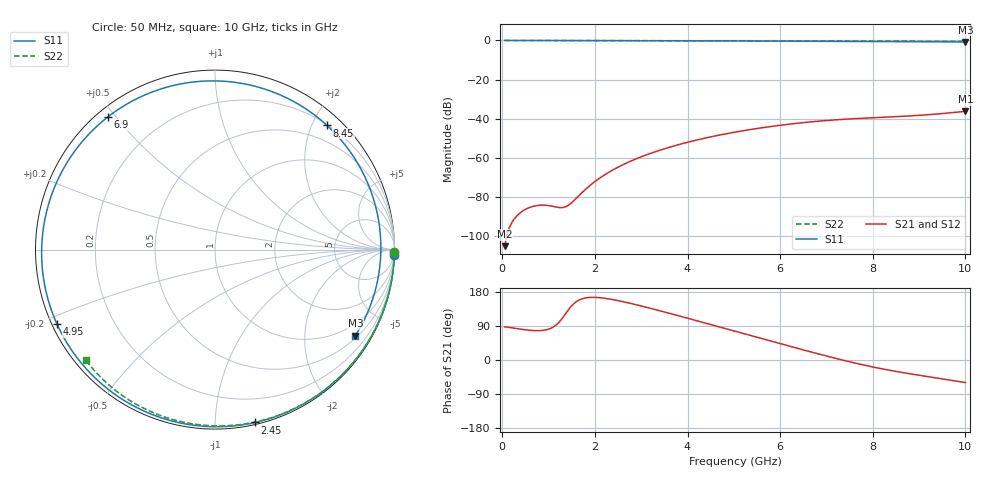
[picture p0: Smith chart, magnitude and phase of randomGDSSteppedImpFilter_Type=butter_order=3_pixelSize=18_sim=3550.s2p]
! freq	dB(S11)	phase(S11)	dB(S12)	phase(S12)
!  dB(S21)	phase(S21)	dB(S22)	phase(S22)
!S-par simulation data
#  GHz  S  DB  R 50
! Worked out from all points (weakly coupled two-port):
!   200 points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, 50 MHz to 10 GHz, reference 50 ohm
!   highest |S21| = -36.23 dB at 10 GHz (marker M1); lowest = -105.1 dB at 50 MHz (marker M2)
!   lowest |S11| = -0.7 dB at 10 GHz (marker M3), VSWR 23.22, Z = 28.7 - j173 ohm
!   |S11| at or under -10 dB: nowhere
!   |S22| runs from -0.5 to 0.0 dB; largest |S21 - S12| = 0
!   S11 on the Smith chart (normalised r, x): 50 MHz: 1, -70; 2.45 GHz: 0.01, -1.26; 4.95 GHz: 0.01, -0.22; 6.9 GHz: 0.03, +0.48; 8.45 GHz: 0.21, +2.23; 10 GHz: 0.57, -3.46
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0.05  -0.00 -1.6  -105.15 87.4  -105.15 87.4  -0.00 -0.8
0.8  -0.03 -25.6  -84.25 77.5  -84.25 77.5  -0.01 -12.8
1.6  -0.06 -50.7  -80.61 154.0  -80.61 154.0  -0.03 -25.5
1.75  -0.07 -55.4  -77.12 162.4  -77.12 162.4  -0.04 -27.8
2.05  -0.08 -64.7  -71.24 165.0  -71.24 165.0  -0.04 -32.5
2.45  -0.10 -76.9  -65.39 157.9  -65.39 157.9  -0.05 -38.6
3.4  -0.14 -105.8  -56.12 130.0  -56.12 130.0  -0.07 -52.9
4.15  -0.18 -129.0  -51.16 105.3  -51.16 105.3  -0.09 -63.8
4.95  -0.24 -154.8  -47.17 78.5  -47.17 78.5  -0.11 -75.0
5.05  -0.24 -158.2  -46.75 75.1  -46.75 75.1  -0.12 -76.4
5.9  -0.33 171.2  -43.65 46.5  -43.65 46.5  -0.15 -87.9
6.7  -0.42 138.0  -41.53 20.1  -41.53 20.1  -0.19 -98.4
6.9  -0.44 128.9  -41.12 13.6  -41.12 13.6  -0.20 -101.0
7.3  -0.49 109.6  -40.41 1.2  -40.41 1.2  -0.23 -106.1
7.65  -0.53 91.6  -39.92 -9.0  -39.92 -9.0  -0.25 -110.5
8  -0.57 72.7  -39.51 -18.4  -39.51 -18.4  -0.28 -114.9
8.35  -0.60 53.4  -39.13 -26.8  -39.13 -26.8  -0.31 -119.2
8.45  -0.61 47.9  -39.02 -29.0  -39.02 -29.0  -0.31 -120.4
8.85  -0.65 25.9  -38.51 -37.3  -38.51 -37.3  -0.35 -125.3
9.2  -0.67 7.3  -37.94 -44.0  -37.94 -44.0  -0.38 -129.6
9.6  -0.71 -12.8  -37.15 -51.6  -37.15 -51.6  -0.43 -134.5
10  -0.75 -31.4  -36.23 -59.7  -36.23 -59.7  -0.47 -139.3
